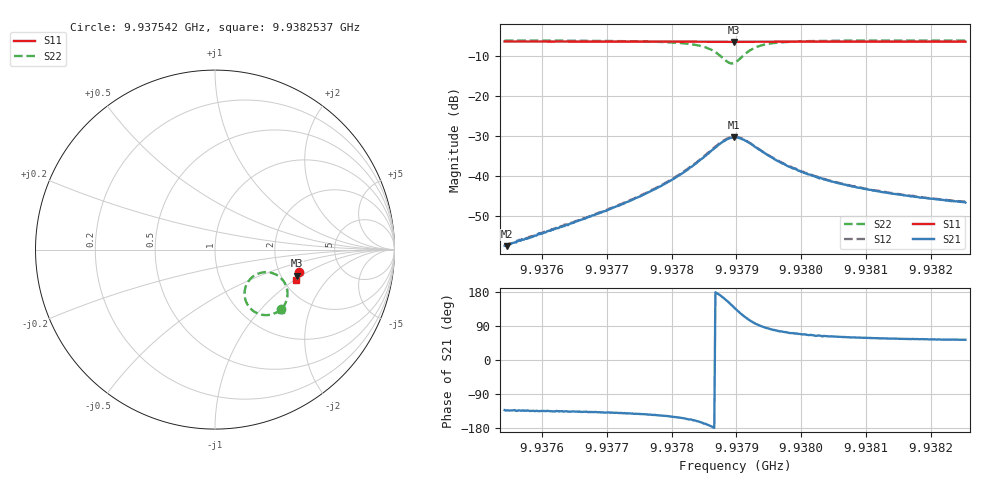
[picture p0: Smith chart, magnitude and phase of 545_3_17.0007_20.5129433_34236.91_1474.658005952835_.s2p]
#  HZ  S  RI  R  50.00
! Rohde & Schwarz Vector Network Analyzer
! Rohde-Schwarz,ZNB20-2Port,1311601062101988,3.16
! Created: UTC 3/20/2024, 11:16:34 PM
! freq[Hz]  re:S11  im:S11  re:S21  im:S21  re:S12  im:S12  re:S22  im:S22
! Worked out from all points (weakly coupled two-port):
!   401 points, 9.937542 GHz to 9.9382537 GHz, reference 50 ohm
!   highest |S21| = -30.34 dB at 9.9378961 GHz (marker M1); lowest = -57.7 dB at 9.9375456 GHz (marker M2)
!   lowest |S11| = -6.4 dB at 9.9378961 GHz (marker M3), VSWR 2.83, Z = 121 - j45.7 ohm
!   |S11| at or under -10 dB: nowhere
!   |S22| runs from -11.8 to -6.1 dB; largest |S21 - S12| = 0.0013
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9.93754204e9  0.4663 -0.1243  -0.000888 -0.000982  -0.000955 -0.000967  0.3672 -0.3335
9.9375456e9  0.4662 -0.1246  -0.000884 -0.000963  -0.000956 -0.000991  0.3669 -0.3338
9.93766124e9  0.4634 -0.1323  -0.00207 -0.00192  -0.00211 -0.00193  0.3509 -0.3453
9.93772173e9  0.4619 -0.1364  -0.00332 -0.00282  -0.00342 -0.00276  0.3368 -0.3533
9.93778043e9  0.4601 -0.1404  -0.00599 -0.00405  -0.00614 -0.00402  0.3109 -0.3621
9.93781602e9  0.459 -0.1428  -0.00953 -0.00485  -0.00981 -0.00478  0.2801 -0.3649
9.93783736e9  0.4581 -0.1443  -0.0134 -0.0048  -0.0137 -0.00465  0.2483 -0.3595
9.93785338e9  0.457 -0.1453  -0.0177 -0.00332  -0.0183 -0.00307  0.2145 -0.3426
9.93786761e9  0.456 -0.146  -0.0226 0.000502  -0.0232 0.00102  0.1805 -0.3054
9.93788006e9  0.4551 -0.146  -0.0258 0.00738  -0.0264 0.00839  0.1646 -0.245
9.93788896e9  0.4548 -0.1457  -0.0258 0.0143  -0.0258 0.0154  0.1778 -0.1908
9.93789607e9  0.4547 -0.1454  -0.0231 0.0198  -0.0226 0.0207  0.2079 -0.1531
9.93789785e9  0.4549 -0.1454  -0.0218 0.021  -0.0216 0.022  0.2178 -0.1457
9.93791208e9  0.4557 -0.1457  -0.0119 0.0255  -0.0111 0.0262  0.3039 -0.1274
9.93792454e9  0.4562 -0.1463  -0.00456 0.024  -0.00378 0.0242  0.358 -0.1512
9.93793877e9  0.4566 -0.1475  0.000354 0.0205  0.000826 0.0205  0.3891 -0.1871
9.93796368e9  0.4564 -0.1497  0.00352 0.0149  0.00386 0.015  0.4039 -0.235
9.93798147e9  0.4562 -0.1512  0.0041 0.0123  0.00439 0.0123  0.4039 -0.257
9.93801705e9  0.4552 -0.1538  0.00415 0.00914  0.00438 0.00925  0.3981 -0.2841
9.93807576e9  0.4537 -0.1579  0.00374 0.00644  0.00392 0.00644  0.3882 -0.307
9.93813624e9  0.452 -0.1619  0.00334 0.00507  0.00344 0.00505  0.3798 -0.3201
9.93825366e9  0.4488 -0.1695  0.00275 0.0037  0.00288 0.00372  0.3675 -0.3348
